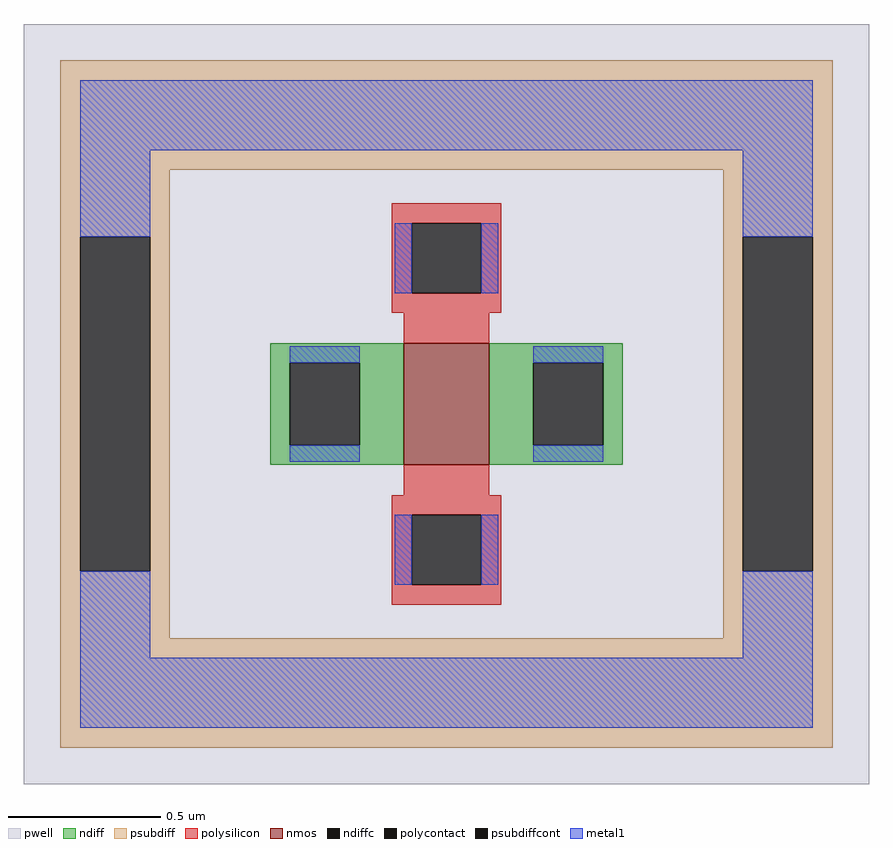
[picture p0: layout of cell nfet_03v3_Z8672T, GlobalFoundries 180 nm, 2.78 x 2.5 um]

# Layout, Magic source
magic
tech gf180mcuD
magscale 1 10
<< pwell >>
rect -278 -250 278 250
<< nmos >>
rect -28 -40 28 40
<< ndiff >>
rect -116 27 -28 40
rect -116 -27 -103 27
rect -57 -27 -28 27
rect -116 -40 -28 -27
rect 28 27 116 40
rect 28 -27 57 27
rect 103 -27 116 27
rect 28 -40 116 -27
<< ndiffc >>
rect -103 -27 -57 27
rect 57 -27 103 27
<< psubdiff >>
rect -254 154 254 226
rect -254 110 -182 154
rect -254 -110 -241 110
rect -195 -110 -182 110
rect 182 110 254 154
rect -254 -154 -182 -110
rect 182 -110 195 110
rect 241 -110 254 110
rect 182 -154 254 -110
rect -254 -226 254 -154
<< psubdiffcont >>
rect -241 -110 -195 110
rect 195 -110 241 110
<< polysilicon >>
rect -36 119 36 132
rect -36 73 -23 119
rect 23 73 36 119
rect -36 60 36 73
rect -28 40 28 60
rect -28 -60 28 -40
rect -36 -73 36 -60
rect -36 -119 -23 -73
rect 23 -119 36 -73
rect -36 -132 36 -119
<< polycontact >>
rect -23 73 23 119
rect -23 -119 23 -73
<< metal1 >>
rect -241 167 241 213
rect -241 110 -195 167
rect -34 73 -23 119
rect 23 73 34 119
rect 195 110 241 167
rect -103 27 -57 38
rect -103 -38 -57 -27
rect 57 27 103 38
rect 57 -38 103 -27
rect -241 -167 -195 -110
rect -34 -119 -23 -73
rect 23 -119 34 -73
rect 195 -167 241 -110
rect -241 -213 241 -167
<< properties >>
string FIXED_BBOX -218 -190 218 190
string gencell nfet_03v3
string library gf180mcu
string parameters w 0.4 l 0.28 m 1 nf 1 diffcov 100 polycov 100 guard 1 glc 1 grc 1 gtc 0 gbc 0 tbcov 100 rlcov 100 topc 1 botc 1 poverlap 0 doverlap 1 lmin 0.28 wmin 0.22 class mosfet full_metal 1 compatible {nfet_03v3 nfet_06v0 nfet_06v0_nvt} ad {int((nf+1)/2) * W/nf * 0.18u} as {int((nf+2)/2) * W/nf * 0.18u} pd {2*int((nf+1)/2) * (W/nf + 0.18u)} ps {2*int((nf+2)/2) * (W/nf + 0.18u)} nrd {0.18u / W} nrs {0.18u / W} sa 0 sb 0 sd 0
<< end >>
